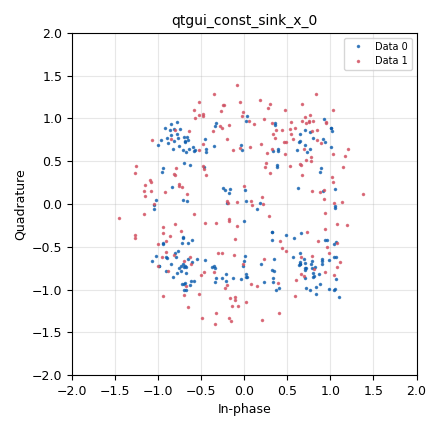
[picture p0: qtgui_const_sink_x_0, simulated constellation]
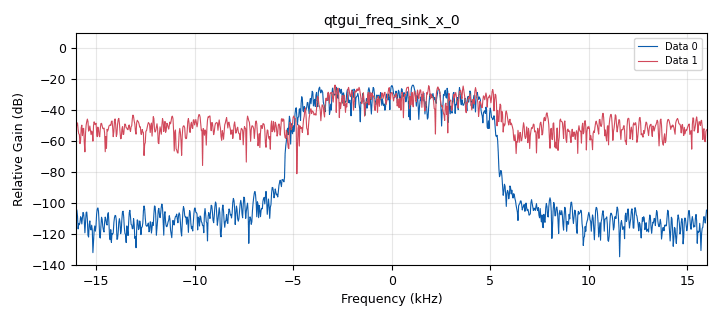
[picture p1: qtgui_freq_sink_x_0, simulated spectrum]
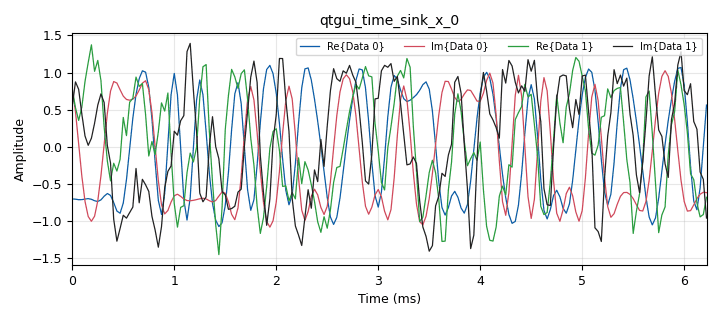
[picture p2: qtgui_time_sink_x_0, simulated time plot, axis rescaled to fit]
options:
  parameters:
    generate_options: qt_gui
    id: Qpsk_stage1_modulator
    output_language: python
    title: Qpsk_stage1_modulator
  states: {}

blocks:
- name: excess_bw
  id: variable
  parameters:
    value: '350e-3'
  states: {}
- name: freq_offset
  id: variable_qtgui_range
  parameters:
    start: '-100e-3'
    step: '1e-3'
    stop: '100e-3'
    value: '25e-3'
  states: {}
- name: qpsk
  id: variable_constellation_rect
  parameters:
    const_points: '[-1-1j, -1+1j, 1+1j, 1-1j]'
    imag_sect: '2'
    real_sect: '2'
    rot_sym: '4'
    sym_map: '[0, 1, 3, 2]'
    w_imag_sect: '1'
    w_real_sect: '1'
  states: {}
- name: qpsk1
  id: variable_constellation
  parameters:
    precision: '8'
    type: qpsk
  states: {}
- name: samp_rate
  id: variable
  parameters:
    value: '32000'
  states: {}
- name: sps
  id: variable
  parameters:
    value: '4'
  states: {}
- name: thermal_noise
  id: variable_qtgui_range
  parameters:
    start: '0'
    step: '10e-3'
    stop: '1'
    value: '200e-3'
  states: {}
- name: timing_offset
  id: variable_qtgui_range
  parameters:
    start: '999e-3'
    step: '100e-6'
    stop: '1.001'
    value: '1.0005'
  states: {}
- name: analog_random_source_x_0
  id: analog_random_source_x
  parameters:
    max: '256'
    min: '0'
    num_samps: '1000'
    repeat: 'True'
    type: byte
  states: {}
- name: blocks_throttle2_0
  id: blocks_throttle2
  parameters:
    samples_per_second: samp_rate
    type: complex
  states: {}
- name: channels_channel_model_0
  id: channels_channel_model
  parameters:
    comment: epsilon is timing offset
    epsilon: timing_offset
    freq_offset: freq_offset
    noise_voltage: thermal_noise
    seed: '0'
    taps: '1.0'
  states: {}
- name: digital_constellation_modulator_0
  id: digital_constellation_modulator
  parameters:
    constellation: qpsk
    differential: 'True'
    excess_bw: excess_bw
    samples_per_symbol: sps
  states: {}
- name: qtgui_const_sink_x_0
  id: qtgui_const_sink_x
  parameters:
    nconnections: '2'
    size: '200'
    type: complex
  states: {}
- name: qtgui_freq_sink_x_0
  id: qtgui_freq_sink_x
  parameters:
    bw: samp_rate
    fc: '0'
    fftsize: '1024'
    nconnections: '2'
    type: complex
  states: {}
- name: qtgui_time_sink_x_0
  id: qtgui_time_sink_x
  parameters:
    nconnections: '2'
    size: '200'
    srate: samp_rate
    type: complex
  states: {}

connections:
- [analog_random_source_x_0, '0', digital_constellation_modulator_0, '0']
- [blocks_throttle2_0, '0', channels_channel_model_0, '0']
- [blocks_throttle2_0, '0', qtgui_const_sink_x_0, '0']
- [blocks_throttle2_0, '0', qtgui_freq_sink_x_0, '0']
- [blocks_throttle2_0, '0', qtgui_time_sink_x_0, '0']
- [channels_channel_model_0, '0', qtgui_const_sink_x_0, '1']
- [channels_channel_model_0, '0', qtgui_freq_sink_x_0, '1']
- [channels_channel_model_0, '0', qtgui_time_sink_x_0, '1']
- [digital_constellation_modulator_0, '0', blocks_throttle2_0, '0']

metadata:
  file_format: 1
  grc_version: 3.10.11.0
